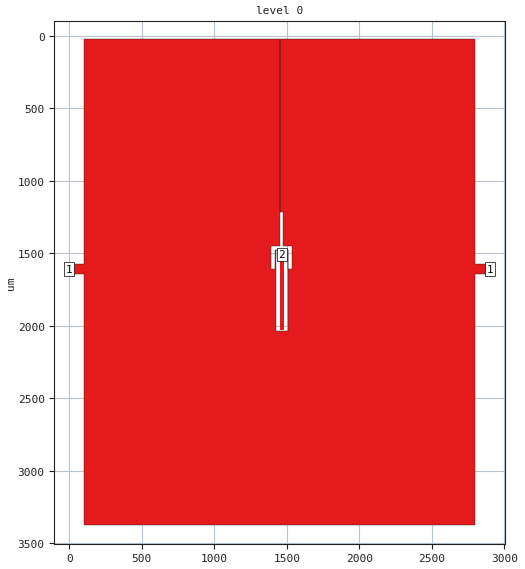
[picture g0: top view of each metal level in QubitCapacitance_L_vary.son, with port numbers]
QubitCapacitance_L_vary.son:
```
FTYP SONPROJ 15 ! Sonnet Project File
VER 16.52
HEADER
LIC calt2.2.43068 b4ae2bd1247e DESKTOP-SL82IK9 Michael
DAT 07/13/2016 15:18:40
BUILT_BY_CREATED xgeom 16.52 04/11/2016 14:48:12
BUILT_BY_SAVED xgeom 16.52
MDATE 07/13/2016 12:23:35
HDATE 07/13/2016 12:22:40
END HEADER
DIM
FREQ GHZ
IND NH
LNG UM
ANG DEG
CON /OH
CAP PF
RES OH
END DIM
FREQ
SIMPLE 1.0 2.0 1.0
ABS 4.0 8.0 
STEP 0.1
END FREQ
CONTROL
VARSWP
OPTIONS  -d 
SPEED 0
CACHE_ABS 1
TARG_ABS 300
Q_ACC N
END CONTROL
GEO
DRP1 LEFT FIX 100
DRP1 RIGHT FIX 100
TMET "Lossless" 0 SUP 0 0 0 0
BMET "Lossless" 0 SUP 0 0 0 0
BOX 1 2900 3400 2900 3400 20 0
      1000 1 1 0 0 0 0 "Unnamed"
      500 11.9 1 5e-006 0 0 0 "Silicon (intrinsic)"
VALVAR qubitLength NONE 520 "Dim. Param."
LORGN 0 3400 U 
POR1 AGND
POLY 11 1
4
2 50 0 0 0 1466 1506.8 NONE 
POR1 STD
POLY 23 1
1
1 50 0 0 0 2900 1608.500008 
POR1 STD
POLY 23 1
225
1 50 0 0 0 0 1608.500049 
NUM 2
0 17 -1 N 11 1 1 100 100 0 0 0 Y
1475 2028.8
1473 2028.8
1473 2026.8
1478 2026.8
1478 1506.8
1454 1506.8
1454 2026.8
1459 2026.8
1459 2028.8
1457 2028.8
1457 2030.8
1461 2030.8
1461 2026.8
1471 2026.8
1471 2030.8
1475 2030.8
1475 2028.8
END
0 231 -1 N 23 1 1 100 100 0 0 0 Y
2800.000156 1645.999993
2900 1645.999993
2900 1571.000023
2800.000156 1571.000023
2800.000156 25
1455 25
1455 1212
1477 1212
1477 1213
1477 1215.55
1477 1218.11
1477 1220.66
1477 1223.21
1477 1225.76
1477 1228.31
1477 1230.86
1477 1233.41
1477 1235.96
1477 1238.51
1477 1241.06
1477 1243.61
1477 1246.17
1477 1248.72
1477 1251.27
1477 1253.82
1477 1256.37
1477 1258.92
1477 1261.47
1477 1264.02
1477 1266.58
1477 1269.13
1477 1271.68
1477 1274.23
1477 1276.78
1477 1279.33
1477 1281.88
1477 1284.43
1477 1286.98
1477 1289.53
1477 1292.08
1477 1294.64
1477 1297.19
1477 1299.74
1477 1302.29
1477 1304.84
1477 1307.39
1477 1309.94
1477 1312.49
1477 1315.04
1477 1317.59
1477 1320.15
1477 1322.7
1477 1325.25
1477 1327.8
1477 1330.35
1477 1332.9
1477 1335.45
1477 1338
1477 1340.55
1477 1343.11
1477 1345.66
1477 1348.21
1477 1350.76
1477 1353.31
1477 1355.86
1477 1358.41
1477 1360.96
1477 1363.51
1477 1366.06
1477 1368.62
1477 1371.17
1477 1373.72
1477 1376.27
1477 1378.82
1477 1381.37
1477 1383.92
1477 1386.47
1477 1389.02
1477 1391.58
1477 1394.13
1477 1396.68
1477 1399.23
1477 1401.78
1477 1404.33
1477 1406.88
1477 1409.43
1477 1411.98
1477 1414.53
1477 1417.08
1477 1419.64
1477 1422.19
1477 1424.74
1477 1427.29
1477 1429.84
1477 1432.39
1477 1434.94
1477 1437.49
1477 1440.04
1477 1442.59
1477 1445.15
1477 1446.8
1538 1446.8
1538 1608.8
1510 1608.8
1510 1474.8
1424 1474.8
1424 1476.8
1508 1476.8
1508 2037.8
1477 2037.8
1477 2033.8
1473 2033.8
1473 2035.8
1475 2035.8
1475 2037.8
1457 2037.8
1457 2035.8
1459 2035.8
1459 2033.8
1455 2033.8
1455 2037.8
1424 2037.8
1424 1476.8
1424 1474.8
1422 1474.8
1422 1608.8
1394 1608.8
1394 1446.8
1455 1446.8
1455 1445.15
1455 1442.6
1455 1440.04
1455 1437.49
1455 1434.94
1455 1432.39
1455 1429.84
1455 1427.29
1455 1424.74
1455 1422.19
1455 1419.64
1455 1417.08
1455 1414.53
1455 1411.98
1455 1409.43
1455 1406.88
1455 1404.33
1455 1401.78
1455 1399.23
1455 1396.68
1455 1394.13
1455 1391.58
1455 1389.02
1455 1386.47
1455 1383.92
1455 1381.37
1455 1378.82
1455 1376.27
1455 1373.72
1455 1371.17
1455 1368.61
1455 1366.06
1455 1363.51
1455 1360.96
1455 1358.41
1455 1355.86
1455 1353.31
1455 1350.76
1455 1348.21
1455 1345.66
1455 1343.11
1455 1340.55
1455 1338
1455 1335.45
1455 1332.9
1455 1330.35
1455 1327.8
1455 1325.25
1455 1322.7
1455 1320.15
1455 1317.6
1455 1315.04
1455 1312.49
1455 1309.94
1455 1307.39
1455 1304.84
1455 1302.29
1455 1299.74
1455 1297.19
1455 1294.64
1455 1292.08
1455 1289.53
1455 1286.98
1455 1284.43
1455 1281.88
1455 1279.33
1455 1276.78
1455 1274.23
1455 1271.68
1455 1269.13
1455 1266.57
1455 1264.02
1455 1261.47
1455 1258.92
1455 1256.37
1455 1253.82
1455 1251.27
1455 1248.72
1455 1246.17
1455 1243.62
1455 1241.06
1455 1238.51
1455 1235.96
1455 1233.41
1455 1230.86
1455 1228.31
1455 1225.76
1455 1223.21
1455 1220.66
1455 1218.11
1455 1215.55
1455 1213
1455 1212
1455 25
99.99995751 25
99.99995751 1571.000078
0 1571.000078
0 1646.000019
100.0000015 1646.000019
100.0000015 3372
2800.000156 3372
2800.000156 1645.999993
END
END GEO
OPT
MAX 100
VARS
VAR qubitLength N UNDEF UNDEF UNDEF
END
END OPT
VARSWP
STEP 0.1
VAR qubitLength Y 525.0 550.0 25.0
END
END VARSWP
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```
